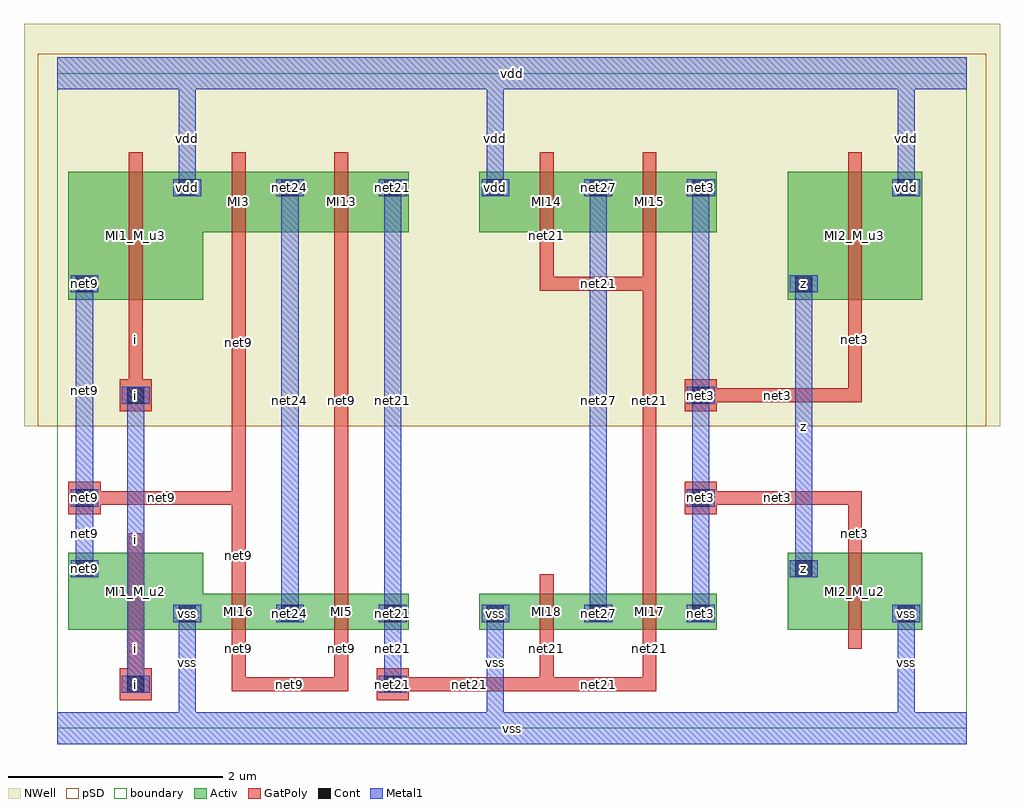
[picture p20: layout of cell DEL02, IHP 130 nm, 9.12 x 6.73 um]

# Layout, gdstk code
import gdstk
lib = gdstk.Library(unit=1e-6, precision=1e-09)
def R(c, l, rs):  # rectangles x0, y0, x1, y1
    for r in rs: c.add(gdstk.rectangle(r[:2], r[2:], *l))
def A(c, l, x, y, w, h, nx, ny, dx, dy):  # array of equal rectangles
    R(c, l, [(x+i*dx, y+j*dy, x+i*dx+w, y+j*dy+h) for i in range(nx) for j in range(ny)])
Activ = (1, 0)
GatPoly = (5, 0)
Cont = (6, 0)
Metal1 = (8, 0)
pSD = (14, 0)
NWell = (31, 0)
TEXT = (63, 0)
boundary = (189, 4)

del02 = lib.new_cell('DEL02')
A(del02, Activ, 1.065, 0.92, 0.3, 0.3, 6, 2, 0.96, 3.98)
R(del02, Activ, [(0.105,0.92,1.365,1.64), (1.065,0.92,2.325,1.255), (2.025,0.92,3.285,1.255), (3.945,0.92,5.205,1.255), (4.905,0.92,6.165,1.255), (6.825,0.92,8.085,1.64), (7.785,0.92,8.085,1.22), (0.105,1.34,0.405,1.64), (6.825,1.34,7.125,1.64), (0.105,4,1.365,5.2), (0.105,4,0.405,4.3), (6.825,4,8.085,5.2), (6.825,4,7.125,4.3), (1.065,4.635,2.325,5.2), (2.025,4.635,3.285,5.2), (3.945,4.635,5.205,5.2), (4.905,4.635,6.165,5.2), (7.785,4.9,8.085,5.2)])
A(del02, GatPoly, 0.67, 0.345, 0.13, 0.79, 3, 1, 0.96, 0)
R(del02, GatPoly, [(0.585,0.26,0.885,0.56), (2.985,0.26,3.285,0.56), (1.63,0.345,2.72,0.475), (3.07,0.345,4.64,0.475), (4.51,0.345,4.64,1.135), (4.51,0.345,5.6,0.475), (5.47,0.345,5.6,1.135), (0.67,0.74,0.8,1.82), (1.63,0.74,1.76,1.435), (2.59,0.74,2.72,1.435), (4.51,0.74,4.64,1.435), (5.47,0.74,5.6,1.435), (7.39,0.74,7.52,1.82), (1.63,1.005,1.76,2.215), (2.59,1.005,2.72,5.115), (5.47,1.005,5.6,5.115), (7.39,1.425,7.52,2.215), (0.105,2,0.405,2.3), (5.865,2,6.165,2.3), (0.19,2.085,1.76,2.215), (1.63,2.085,1.76,5.115), (5.95,2.085,7.52,2.215), (0.585,2.96,0.885,3.26), (5.865,2.96,6.165,3.26), (0.67,3.045,0.8,4.215), (5.95,3.045,7.52,3.175), (7.39,3.045,7.52,4.215), (0.67,3.82,0.8,5.38), (7.39,3.82,7.52,5.38), (4.51,4.085,5.6,4.215), (4.51,4.085,4.64,5.115), (1.63,4.455,1.76,5.38), (2.59,4.455,2.72,5.38), (4.51,4.455,4.64,5.38), (5.47,4.455,5.6,5.38)])
A(del02, Cont, 1.135, 0.99, 0.16, 0.16, 6, 2, 0.96, 3.98)
R(del02, Cont, [(0.655,0.33,0.815,0.49), (3.055,0.33,3.215,0.49), (7.855,0.99,8.015,1.15), (0.175,1.41,0.335,1.57), (6.895,1.41,7.055,1.57), (0.175,2.07,0.335,2.23), (5.935,2.07,6.095,2.23), (0.655,3.03,0.815,3.19), (5.935,3.03,6.095,3.19), (0.175,4.07,0.335,4.23), (6.895,4.07,7.055,4.23), (7.855,4.97,8.015,5.13)])
A(del02, Metal1, 1.085, 0.99, 0.26, 0.16, 6, 2, 0.96, 3.98)
R(del02, Metal1, [(0,-0.15,8.5,0.15), (1.135,0.07,1.295,1.15), (4.015,0.07,4.175,1.15), (7.855,0.07,8.015,1.15), (0.605,0.33,0.865,0.49), (0.655,0.33,0.815,3.19), (3.005,0.33,3.265,0.49), (3.055,0.33,3.215,1.15), (2.095,0.99,2.255,5.13), (3.055,0.99,3.215,5.13), (4.975,0.99,5.135,5.13), (5.935,0.99,6.095,5.13), (7.805,0.99,8.065,1.15), (0.125,1.41,0.385,1.57), (0.175,1.41,0.335,2.23), (6.845,1.41,7.105,1.57), (6.895,1.41,7.055,4.23), (0.125,2.07,0.385,2.23), (0.175,2.07,0.335,4.23), (5.885,2.07,6.145,2.23), (0.605,3.03,0.865,3.19), (5.885,3.03,6.145,3.19), (0.125,4.07,0.385,4.23), (6.845,4.07,7.105,4.23), (1.135,4.97,1.295,6.05), (4.015,4.97,4.175,6.05), (7.805,4.97,8.065,5.13), (7.855,4.97,8.015,6.05), (0,5.97,8.5,6.27)])
R(del02, pSD, [(-0.18,2.82,8.68,5.94), (-0.18,5.94,8.68,6.3)])
R(del02, NWell, [(-0.31,2.82,8.81,6.58)])
R(del02, boundary, [(0,0,8.5,6.12)])
del02.add(gdstk.FlexPath([(0.105,0.41),(8.085,0.41)], 0, ends="flush", simple_path=True, layer=63, datatype=0))  # TEXT
del02.add(gdstk.FlexPath([(0.105,1.07),(8.085,1.07)], 0, ends="flush", simple_path=True, layer=63, datatype=0))  # TEXT
del02.add(gdstk.FlexPath([(0.105,1.49),(8.085,1.49)], 0, ends="flush", simple_path=True, layer=63, datatype=0))  # TEXT
del02.add(gdstk.FlexPath([(0.105,2.15),(8.085,2.15)], 0, ends="flush", simple_path=True, layer=63, datatype=0))  # TEXT
del02.add(gdstk.FlexPath([(0.105,2.63),(8.085,2.63)], 0, ends="flush", simple_path=True, layer=63, datatype=0))  # TEXT
del02.add(gdstk.FlexPath([(0.105,3.11),(8.085,3.11)], 0, ends="flush", simple_path=True, layer=63, datatype=0))  # TEXT
del02.add(gdstk.FlexPath([(0.105,4.15),(8.085,4.15)], 0, ends="flush", simple_path=True, layer=63, datatype=0))  # TEXT
del02.add(gdstk.FlexPath([(0.105,4.71),(8.085,4.71)], 0, ends="flush", simple_path=True, layer=63, datatype=0))  # TEXT
del02.add(gdstk.FlexPath([(0.105,5.05),(8.085,5.05)], 0, ends="flush", simple_path=True, layer=63, datatype=0))  # TEXT
del02.add(gdstk.FlexPath([(0.105,5.71),(8.085,5.71)], 0, ends="flush", simple_path=True, layer=63, datatype=0))  # TEXT
del02.add(gdstk.FlexPath([(0.255,0.07),(0.255,6.05)], 0, ends="flush", simple_path=True, layer=63, datatype=0))  # TEXT
del02.add(gdstk.FlexPath([(0.735,0.07),(0.735,6.05)], 0, ends="flush", simple_path=True, layer=63, datatype=0))  # TEXT
del02.add(gdstk.FlexPath([(1.215,0.07),(1.215,6.05)], 0, ends="flush", simple_path=True, layer=63, datatype=0))  # TEXT
del02.add(gdstk.FlexPath([(1.695,0.07),(1.695,6.05)], 0, ends="flush", simple_path=True, layer=63, datatype=0))  # TEXT
del02.add(gdstk.FlexPath([(2.175,0.07),(2.175,6.05)], 0, ends="flush", simple_path=True, layer=63, datatype=0))  # TEXT
del02.add(gdstk.FlexPath([(2.655,0.07),(2.655,6.05)], 0, ends="flush", simple_path=True, layer=63, datatype=0))  # TEXT
del02.add(gdstk.FlexPath([(3.135,0.07),(3.135,6.05)], 0, ends="flush", simple_path=True, layer=63, datatype=0))  # TEXT
del02.add(gdstk.FlexPath([(3.615,0.07),(3.615,6.05)], 0, ends="flush", simple_path=True, layer=63, datatype=0))  # TEXT
del02.add(gdstk.FlexPath([(4.095,0.07),(4.095,6.05)], 0, ends="flush", simple_path=True, layer=63, datatype=0))  # TEXT
del02.add(gdstk.FlexPath([(4.575,0.07),(4.575,6.05)], 0, ends="flush", simple_path=True, layer=63, datatype=0))  # TEXT
del02.add(gdstk.FlexPath([(5.055,0.07),(5.055,6.05)], 0, ends="flush", simple_path=True, layer=63, datatype=0))  # TEXT
del02.add(gdstk.FlexPath([(5.535,0.07),(5.535,6.05)], 0, ends="flush", simple_path=True, layer=63, datatype=0))  # TEXT
del02.add(gdstk.FlexPath([(6.015,0.07),(6.015,6.05)], 0, ends="flush", simple_path=True, layer=63, datatype=0))  # TEXT
del02.add(gdstk.FlexPath([(6.495,0.07),(6.495,6.05)], 0, ends="flush", simple_path=True, layer=63, datatype=0))  # TEXT
del02.add(gdstk.FlexPath([(6.975,0.07),(6.975,6.05)], 0, ends="flush", simple_path=True, layer=63, datatype=0))  # TEXT
del02.add(gdstk.FlexPath([(7.455,0.07),(7.455,6.05)], 0, ends="flush", simple_path=True, layer=63, datatype=0))  # TEXT
del02.add(gdstk.FlexPath([(7.935,0.07),(7.935,6.05)], 0, ends="flush", simple_path=True, layer=63, datatype=0))  # TEXT
del02.add(gdstk.Label('net3', (6.015,1.07), layer=6, texttype=0))
del02.add(gdstk.Label('net3', (6.015,5.05), layer=6, texttype=0))
del02.add(gdstk.Label('net3', (6.015,3.11), layer=6, texttype=0))
del02.add(gdstk.Label('net3', (6.015,2.15), layer=6, texttype=0))
del02.add(gdstk.Label('net21', (3.135,1.07), layer=6, texttype=0))
del02.add(gdstk.Label('net21', (3.135,5.05), layer=6, texttype=0))
del02.add(gdstk.Label('net21', (3.135,0.41), layer=6, texttype=0))
del02.add(gdstk.Label('net27', (5.055,1.07), layer=6, texttype=0))
del02.add(gdstk.Label('net27', (5.055,5.05), layer=6, texttype=0))
del02.add(gdstk.Label('net9', (0.255,1.49), layer=6, texttype=0))
del02.add(gdstk.Label('net9', (0.255,4.15), layer=6, texttype=0))
del02.add(gdstk.Label('net9', (0.255,2.15), layer=6, texttype=0))
del02.add(gdstk.Label('net24', (2.175,1.07), layer=6, texttype=0))
del02.add(gdstk.Label('net24', (2.175,5.05), layer=6, texttype=0))
del02.add(gdstk.Label('z', (6.975,1.49), layer=6, texttype=0))
del02.add(gdstk.Label('z', (6.975,4.15), layer=6, texttype=0))
del02.add(gdstk.Label('i', (0.735,0.41), layer=6, texttype=0))
del02.add(gdstk.Label('i', (0.735,3.11), layer=6, texttype=0))
del02.add(gdstk.Label('vss', (4.095,1.07), layer=6, texttype=0))
del02.add(gdstk.Label('vss', (1.215,1.07), layer=6, texttype=0))
del02.add(gdstk.Label('vss', (7.935,1.07), layer=6, texttype=0))
del02.add(gdstk.Label('vdd', (1.215,5.05), layer=6, texttype=0))
del02.add(gdstk.Label('vdd', (4.095,5.05), layer=6, texttype=0))
del02.add(gdstk.Label('vdd', (7.935,5.05), layer=6, texttype=0))
del02.add(gdstk.Label('net3', (6.015,1.07), layer=8, texttype=0))
del02.add(gdstk.Label('net3', (6.015,5.05), layer=8, texttype=0))
del02.add(gdstk.Label('net3', (6.015,3.06), layer=8, texttype=0))
del02.add(gdstk.Label('net3', (6.015,3.11), layer=8, texttype=0))
del02.add(gdstk.Label('net3', (6.015,2.15), layer=8, texttype=0))
del02.add(gdstk.Label('net21', (3.135,1.07), layer=8, texttype=0))
del02.add(gdstk.Label('net21', (3.135,5.05), layer=8, texttype=0))
del02.add(gdstk.Label('net21', (3.135,0.41), layer=8, texttype=0))
del02.add(gdstk.Label('net21', (3.135,0.74), layer=8, texttype=0))
del02.add(gdstk.Label('net21', (3.135,3.06), layer=8, texttype=0))
del02.add(gdstk.Label('net27', (5.055,1.07), layer=8, texttype=0))
del02.add(gdstk.Label('net27', (5.055,5.05), layer=8, texttype=0))
del02.add(gdstk.Label('net27', (5.055,3.06), layer=8, texttype=0))
del02.add(gdstk.Label('net9', (0.255,1.49), layer=8, texttype=0))
del02.add(gdstk.Label('net9', (0.255,4.15), layer=8, texttype=0))
del02.add(gdstk.Label('net9', (0.255,2.15), layer=8, texttype=0))
del02.add(gdstk.Label('net9', (0.255,1.82), layer=8, texttype=0))
del02.add(gdstk.Label('net9', (0.255,3.15), layer=8, texttype=0))
del02.add(gdstk.Label('net24', (2.175,1.07), layer=8, texttype=0))
del02.add(gdstk.Label('net24', (2.175,5.05), layer=8, texttype=0))
del02.add(gdstk.Label('net24', (2.175,3.06), layer=8, texttype=0))
del02.add(gdstk.Label('vss', (4.095,1.07), layer=8, texttype=0))
del02.add(gdstk.Label('vss', (4.095,0.61), layer=8, texttype=0))
del02.add(gdstk.Label('vss', (1.215,1.07), layer=8, texttype=0))
del02.add(gdstk.Label('vss', (1.215,0.61), layer=8, texttype=0))
del02.add(gdstk.Label('vss', (7.935,1.07), layer=8, texttype=0))
del02.add(gdstk.Label('vss', (7.935,0.61), layer=8, texttype=0))
del02.add(gdstk.Label('vdd', (1.215,5.05), layer=8, texttype=0))
del02.add(gdstk.Label('vdd', (1.215,5.51), layer=8, texttype=0))
del02.add(gdstk.Label('vdd', (4.095,5.05), layer=8, texttype=0))
del02.add(gdstk.Label('vdd', (4.095,5.51), layer=8, texttype=0))
del02.add(gdstk.Label('vdd', (7.935,5.05), layer=8, texttype=0))
del02.add(gdstk.Label('vdd', (7.935,5.51), layer=8, texttype=0))
del02.add(gdstk.Label('z', (6.975,1.49), layer=8, texttype=2))
del02.add(gdstk.Label('z', (6.975,4.15), layer=8, texttype=2))
del02.add(gdstk.Label('z', (6.975,2.82), layer=8, texttype=2))
del02.add(gdstk.Label('i', (0.735,0.41), layer=8, texttype=2))
del02.add(gdstk.Label('i', (0.735,1.76), layer=8, texttype=2))
del02.add(gdstk.Label('i', (0.735,3.11), layer=8, texttype=2))
del02.add(gdstk.Label('vss', (4.25,0), layer=8, texttype=2))
del02.add(gdstk.Label('vdd', (4.25,6.12), layer=8, texttype=2))
del02.add(gdstk.Label('z', (6.975,1.49), layer=8, texttype=2))
del02.add(gdstk.Label('z', (6.975,4.15), layer=8, texttype=2))
del02.add(gdstk.Label('z', (6.975,2.82), layer=8, texttype=2))
del02.add(gdstk.Label('i', (0.735,0.41), layer=8, texttype=2))
del02.add(gdstk.Label('i', (0.735,1.76), layer=8, texttype=2))
del02.add(gdstk.Label('i', (0.735,3.11), layer=8, texttype=2))
del02.add(gdstk.Label('vss', (4.25,0), layer=8, texttype=2))
del02.add(gdstk.Label('vdd', (4.25,6.12), layer=8, texttype=2))
del02.add(gdstk.Label('MI17', (5.535,1.088), layer=1, texttype=0))
del02.add(gdstk.Label('MI18', (4.575,1.088), layer=1, texttype=0))
del02.add(gdstk.Label('MI5', (2.655,1.088), layer=1, texttype=0))
del02.add(gdstk.Label('MI16', (1.695,1.088), layer=1, texttype=0))
del02.add(gdstk.Label('MI2_M_u2', (7.455,1.28), layer=1, texttype=0))
del02.add(gdstk.Label('MI1_M_u2', (0.735,1.28), layer=1, texttype=0))
del02.add(gdstk.Label('MI15', (5.535,4.918), layer=1, texttype=0))
del02.add(gdstk.Label('MI13', (2.655,4.918), layer=1, texttype=0))
del02.add(gdstk.Label('MI3', (1.695,4.918), layer=1, texttype=0))
del02.add(gdstk.Label('MI14', (4.575,4.918), layer=1, texttype=0))
del02.add(gdstk.Label('MI2_M_u3', (7.455,4.6), layer=1, texttype=0))
del02.add(gdstk.Label('MI1_M_u3', (0.735,4.6), layer=1, texttype=0))
del02.add(gdstk.Label('net3', (6.015,1.07), layer=1, texttype=0))
del02.add(gdstk.Label('net3', (6.015,5.05), layer=1, texttype=0))
del02.add(gdstk.Label('net21', (3.135,1.07), layer=1, texttype=0))
del02.add(gdstk.Label('net21', (3.135,5.05), layer=1, texttype=0))
del02.add(gdstk.Label('net27', (5.055,1.07), layer=1, texttype=0))
del02.add(gdstk.Label('net27', (5.055,5.05), layer=1, texttype=0))
del02.add(gdstk.Label('net9', (0.255,1.49), layer=1, texttype=0))
del02.add(gdstk.Label('net9', (0.255,4.15), layer=1, texttype=0))
del02.add(gdstk.Label('net24', (2.175,1.07), layer=1, texttype=0))
del02.add(gdstk.Label('net24', (2.175,5.05), layer=1, texttype=0))
del02.add(gdstk.Label('z', (6.975,1.49), layer=1, texttype=0))
del02.add(gdstk.Label('z', (6.975,4.15), layer=1, texttype=0))
del02.add(gdstk.Label('vss', (4.095,1.07), layer=1, texttype=0))
del02.add(gdstk.Label('vss', (1.215,1.07), layer=1, texttype=0))
del02.add(gdstk.Label('vss', (7.935,1.07), layer=1, texttype=0))
del02.add(gdstk.Label('vdd', (1.215,5.05), layer=1, texttype=0))
del02.add(gdstk.Label('vdd', (4.095,5.05), layer=1, texttype=0))
del02.add(gdstk.Label('vdd', (7.935,5.05), layer=1, texttype=0))
del02.add(gdstk.Label('z', (6.975,1.49), layer=8, texttype=25))
del02.add(gdstk.Label('z', (6.975,4.15), layer=8, texttype=25))
del02.add(gdstk.Label('z', (6.975,2.82), layer=8, texttype=25))
del02.add(gdstk.Label('i', (0.735,0.41), layer=8, texttype=25))
del02.add(gdstk.Label('i', (0.735,1.76), layer=8, texttype=25))
del02.add(gdstk.Label('i', (0.735,3.11), layer=8, texttype=25))
del02.add(gdstk.Label('vss', (4.25,0), layer=8, texttype=25))
del02.add(gdstk.Label('vdd', (4.25,6.12), layer=8, texttype=25))
del02.add(gdstk.Label('net3', (6.015,3.11), layer=5, texttype=0))
del02.add(gdstk.Label('net3', (6.735,3.11), layer=5, texttype=0))
del02.add(gdstk.Label('net3', (7.455,3.63), layer=5, texttype=0))
del02.add(gdstk.Label('net3', (7.455,1.82), layer=5, texttype=0))
del02.add(gdstk.Label('net3', (6.735,2.15), layer=5, texttype=0))
del02.add(gdstk.Label('net3', (6.015,2.15), layer=5, texttype=0))
del02.add(gdstk.Label('net21', (5.535,0.74), layer=5, texttype=0))
del02.add(gdstk.Label('net21', (5.055,0.41), layer=5, texttype=0))
del02.add(gdstk.Label('net21', (4.575,0.74), layer=5, texttype=0))
del02.add(gdstk.Label('net21', (3.855,0.41), layer=5, texttype=0))
del02.add(gdstk.Label('net21', (3.135,0.41), layer=5, texttype=0))
del02.add(gdstk.Label('net21', (5.535,3.06), layer=5, texttype=0))
del02.add(gdstk.Label('net21', (5.055,4.15), layer=5, texttype=0))
del02.add(gdstk.Label('net21', (4.575,4.6), layer=5, texttype=0))
del02.add(gdstk.Label('net9', (2.655,0.74), layer=5, texttype=0))
del02.add(gdstk.Label('net9', (2.175,0.41), layer=5, texttype=0))
del02.add(gdstk.Label('net9', (1.695,0.74), layer=5, texttype=0))
del02.add(gdstk.Label('net9', (1.695,1.61), layer=5, texttype=0))
del02.add(gdstk.Label('net9', (0.975,2.15), layer=5, texttype=0))
del02.add(gdstk.Label('net9', (0.255,2.15), layer=5, texttype=0))
del02.add(gdstk.Label('net9', (2.655,3.06), layer=5, texttype=0))
del02.add(gdstk.Label('net9', (1.695,3.6), layer=5, texttype=0))
del02.add(gdstk.Label('i', (0.735,0.74), layer=5, texttype=0))
del02.add(gdstk.Label('i', (0.735,0.41), layer=5, texttype=0))
del02.add(gdstk.Label('i', (0.735,3.11), layer=5, texttype=0))
del02.add(gdstk.Label('i', (0.735,3.63), layer=5, texttype=0))

lib.write_gds('DEL02.gds')
